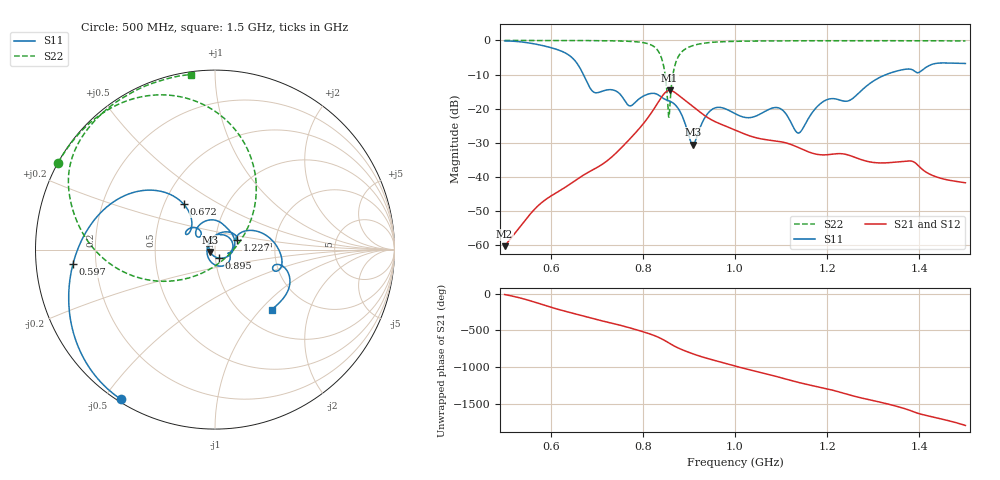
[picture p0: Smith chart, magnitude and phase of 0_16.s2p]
! TOUCHSTONE file generated by CST MICROWAVE STUDIO
! Date and time: Sat Oct 24 11:13:04 2020
! Project name: Scenario_1_Circular_Tissue_in_Line.cst
! Parameters = {L_HA=400; MT=2.54; Rad_Dielectric=30; Rad_Lower=7.3; Rad_Upper=30; a_HA=580; a_WG=246; b_HA=500; b_WG=121; c_HA=0; c_WG=187; d_feed=85; dx1=432.8; h_feed=15; h_lower=18; h_upper=40}
! Header version: 2018
! Port assignment regex: !\s*Touchstone port\s*([0-9]+)\s*=\s*(CST MWS port|CST DS port)\s*([0-9]+|Zmin|Zmax)\s*\(\"(.*)\"\)(\s*mode\s*([0-9]+))?.*
! Touchstone port assignment:
! Touchstone port 1 = CST MWS port 1 ("")
! Touchstone port 2 = CST MWS port 2 ("")
# GHz S DB R 50
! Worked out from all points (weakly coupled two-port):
!   1003 points, 500 MHz to 1.5 GHz, reference 50 ohm
!   highest |S21| = -14.65 dB at 858 MHz (marker M1); lowest = -60.3 dB at 500 MHz (marker M2)
!   lowest |S11| = -30.5 dB at 909 MHz (marker M3), VSWR 1.06, Z = 47.4 - j1.21 ohm
!   |S11| at or under -10 dB: 671 MHz to 1.328 GHz (656.8 MHz wide, 65.7 % of centre)
!   |S22| runs from -22.4 to 0.0 dB; largest |S21 - S12| = 0.0001
!   S11 on the Smith chart (normalised r, x): 500 MHz: 0.01, -0.55; 597 MHz: 0.11, -0.05; 672 MHz: 0.63, +0.35; 895 MHz: 1.04, -0.10; 1.227 GHz: 1.27, +0.14; 1.5 GHz: 1.36, -1.15
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0.5  -0.13 -122.3  -60.26 -14.1  -60.26 -14.1  -0.01 151.1
0.597  -1.99 -174.2  -45.88 -179.9  -45.88 -179.9  -0.02 144.3
0.642  -4.55 150.0  -42.08 102.2  -42.08 102.2  -0.03 140.6
0.667  -8.92 126.6  -39.80 60.5  -39.80 60.5  -0.04 138.3
0.672  -10.28 124.5  -39.38 52.1  -39.38 52.1  -0.04 137.8
0.694  -15.18 140.2  -37.71 15.9  -37.71 15.9  -0.06 135.5
0.782  -18.34 144.0  -27.37 -123.6  -27.37 -123.6  -0.35 119.7
0.834  -16.00 82.7  -17.94 126.7  -17.94 126.7  -3.25 81.4
0.847  -17.17 62.3  -15.49 85.0  -15.49 85.0  -8.81 51.2
0.854  -17.56 50.9  -14.77 59.1  -14.77 59.1  -18.30 9.3
0.858  -17.77 43.3  -14.65 44.1  -14.65 44.1  -20.69 -91.1
0.87  -18.83 15.3  -15.29 2.3  -15.29 2.3  -7.11 -158.6
0.895  -25.74 -66.4  -17.91 -65.6  -17.91 -65.6  -2.28 170.1
0.909  -30.49 -154.8  -19.37 -98.0  -19.37 -98.0  -1.50 162.3
0.95  -20.21 54.3  -23.33 -176.6  -23.33 -176.6  -0.55 149.0
1  -21.43 -10.7  -26.24 97.7  -26.24 97.7  -0.27 140.2
1.094  -19.74 -57.4  -29.55 -50.9  -29.55 -50.9  -0.13 130.2
1.138  -27.12 168.1  -31.40 -124.6  -31.40 -124.6  -0.10 126.5
1.167  -21.26 81.4  -33.00 -166.5  -33.00 -166.5  -0.09 124.1
1.227  -17.44 22.9  -33.15 104.7  -33.15 104.7  -0.09 119.5
1.334  -9.68 7.8  -35.80 -60.1  -35.80 -60.1  -0.09 111.4
1.5  -6.75 -46.5  -41.70 12.9  -41.78 13.4  -0.14 97.8
